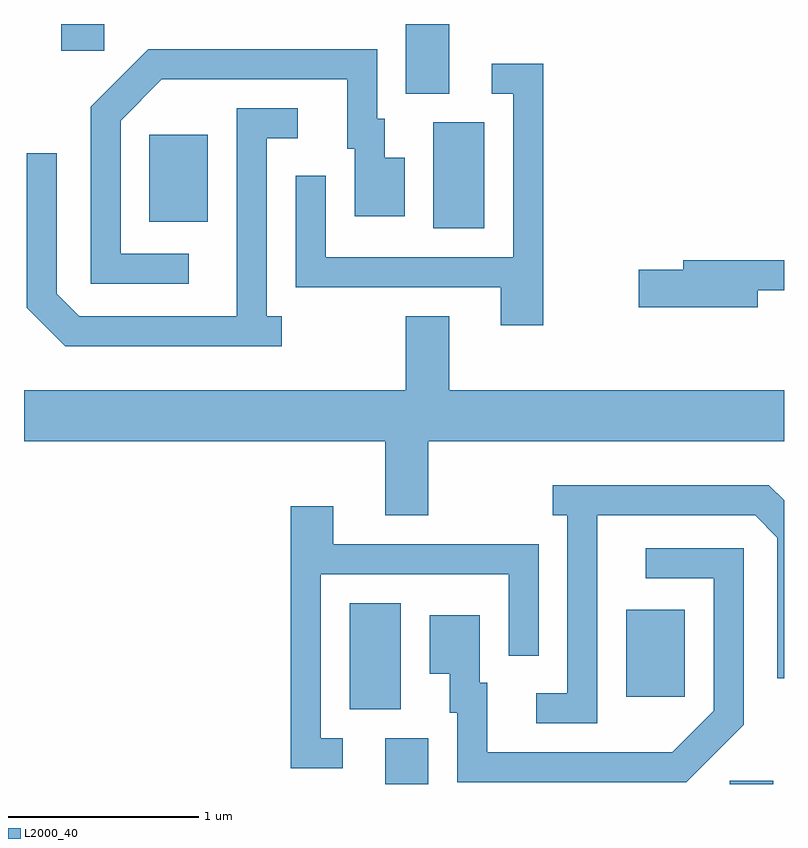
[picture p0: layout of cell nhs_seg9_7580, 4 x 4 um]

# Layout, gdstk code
import gdstk
lib = gdstk.Library(unit=1e-6, precision=1e-09)
def R(c, l, rs):  # rectangles x0, y0, x1, y1
    for r in rs: c.add(gdstk.rectangle(r[:2], r[2:], *l))
def P(c, l, *ps):  # polygons
    for p in ps: c.add(gdstk.Polygon(p, *l))
L2000_40 = (2000, 40)

nhs_seg9_7580 = lib.new_cell('nhs_seg9_7580')
R(nhs_seg9_7580, L2000_40, [(411.511,2014.432,411.739,2014.674), (413.326,2014.432,413.554,2014.449), (411.326,2014.826,411.594,2015.384), (412.781,2014.891,413.089,2015.349), (411.766,2017.356,412.034,2017.914), (410.271,2017.391,410.579,2017.849), (411.621,2018.066,411.849,2018.432), (409.806,2018.291,410.034,2018.432)])
P(nhs_seg9_7580, L2000_40, [(410.478,2017.224),(410.119,2017.224),(410.119,2017.924),(410.337,2018.141),(411.311,2018.141),(411.311,2017.776),(411.351,2017.776),(411.351,2017.421),(411.614,2017.421),(411.614,2017.729),(411.509,2017.729),(411.509,2017.934),(411.469,2017.934),(411.469,2018.299),(410.264,2018.299),(409.961,2017.997),(409.961,2017.066),(410.478,2017.066)],
  [(412.344,2018.224),(412.073,2018.224),(412.073,2018.066),(412.186,2018.066),(412.186,2017.204),(411.199,2017.204),(411.199,2017.633),(411.041,2017.633),(411.041,2017.046),(412.121,2017.046),(412.121,2016.846),(412.344,2016.846)],
  [(410.968,2016.894),(410.889,2016.894),(410.889,2017.831),(411.053,2017.831),(411.053,2017.989),(410.731,2017.989),(410.731,2016.894),(409.902,2016.894),(409.784,2017.012),(409.784,2017.753),(409.626,2017.753),(409.626,2016.939),(409.829,2016.736),(410.968,2016.736)],
  [(413.474,2017.031),(413.611,2017.031),(413.611,2017.189),(413.081,2017.189),(413.081,2017.139),(412.846,2017.139),(412.846,2016.941),(413.474,2016.941)],
  [(411.739,2016.236),(413.611,2016.236),(413.611,2016.504),(411.849,2016.504),(411.849,2016.894),(411.621,2016.894),(411.621,2016.504),(409.611,2016.504),(409.611,2016.236),(411.511,2016.236),(411.511,2015.846),(411.739,2015.846)],
  [(412.629,2015.846),(413.459,2015.846),(413.576,2015.729),(413.576,2014.988),(413.611,2014.988),(413.611,2015.925),(413.532,2016.004),(412.393,2016.004),(412.393,2015.846),(412.471,2015.846),(412.471,2014.909),(412.308,2014.909),(412.308,2014.751),(412.629,2014.751)],
  [(411.288,2014.674),(411.174,2014.674),(411.174,2015.536),(412.161,2015.536),(412.161,2015.108),(412.319,2015.108),(412.319,2015.694),(411.239,2015.694),(411.239,2015.894),(411.016,2015.894),(411.016,2014.516),(411.288,2014.516)],
  [(413.399,2014.744),(413.399,2015.674),(412.883,2015.674),(412.883,2015.516),(413.241,2015.516),(413.241,2014.817),(413.024,2014.599),(412.049,2014.599),(412.049,2014.964),(412.009,2014.964),(412.009,2015.319),(411.746,2015.319),(411.746,2015.011),(411.851,2015.011),(411.851,2014.806),(411.891,2014.806),(411.891,2014.441),(413.097,2014.441)])

lib.write_gds('nhs_seg9_7580.gds')
